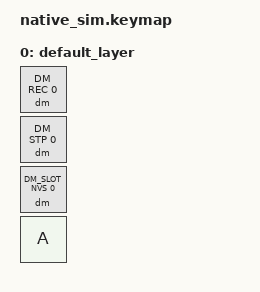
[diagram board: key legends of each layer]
/*
 * Copyright (c) 2026 The ZMK Contributors
 * SPDX-License-Identifier: MIT
 *
 * Test: Record more events than MAX_EVENTS allows.
 *
 * Sequence:
 * 1. Start recording
 * 2. Press many keys (exceeds MAX_EVENTS)
 * 3. Verify overflow feedback/truncation
 *
 * Expected: Recording stops or truncates at MAX_EVENTS, error feedback
 *
 * Note: Default MAX_EVENTS=64, so 32 key taps = 64 events (press+release)
 */

#include <behaviors.dtsi>
#include <dt-bindings/zmk/keys.h>
#include <dt-bindings/zmk/kscan_mock.h>
#include <dt-bindings/zmk/dynamic_macros.h>
#include "../behavior_keymap.dtsi"

/ {
    keymap {
        compatible = "zmk,keymap";
        default_layer {
            bindings = <
                &dm DM_REC 0
                &dm DM_STP 0
                &dm DM_SLOT_NVS 0
                &kp A
            >;
        };
    };
};

&kscan {
    events = <
        /* Start recording */
        ZMK_MOCK_PRESS(0,0,10)
        ZMK_MOCK_RELEASE(0,0,20)

        /* Press A 35 times (70 events > 64 MAX_EVENTS default) */
        ZMK_MOCK_PRESS(0,3,100)   ZMK_MOCK_RELEASE(0,3,110)
        ZMK_MOCK_PRESS(0,3,120)   ZMK_MOCK_RELEASE(0,3,130)
        ZMK_MOCK_PRESS(0,3,140)   ZMK_MOCK_RELEASE(0,3,150)
        ZMK_MOCK_PRESS(0,3,160)   ZMK_MOCK_RELEASE(0,3,170)
        ZMK_MOCK_PRESS(0,3,180)   ZMK_MOCK_RELEASE(0,3,190)
        ZMK_MOCK_PRESS(0,3,200)   ZMK_MOCK_RELEASE(0,3,210)
        ZMK_MOCK_PRESS(0,3,220)   ZMK_MOCK_RELEASE(0,3,230)
        ZMK_MOCK_PRESS(0,3,240)   ZMK_MOCK_RELEASE(0,3,250)
        ZMK_MOCK_PRESS(0,3,260)   ZMK_MOCK_RELEASE(0,3,270)
        ZMK_MOCK_PRESS(0,3,280)   ZMK_MOCK_RELEASE(0,3,290)
        ZMK_MOCK_PRESS(0,3,300)   ZMK_MOCK_RELEASE(0,3,310)
        ZMK_MOCK_PRESS(0,3,320)   ZMK_MOCK_RELEASE(0,3,330)
        ZMK_MOCK_PRESS(0,3,340)   ZMK_MOCK_RELEASE(0,3,350)
        ZMK_MOCK_PRESS(0,3,360)   ZMK_MOCK_RELEASE(0,3,370)
        ZMK_MOCK_PRESS(0,3,380)   ZMK_MOCK_RELEASE(0,3,390)
        ZMK_MOCK_PRESS(0,3,400)   ZMK_MOCK_RELEASE(0,3,410)
        ZMK_MOCK_PRESS(0,3,420)   ZMK_MOCK_RELEASE(0,3,430)
        ZMK_MOCK_PRESS(0,3,440)   ZMK_MOCK_RELEASE(0,3,450)
        ZMK_MOCK_PRESS(0,3,460)   ZMK_MOCK_RELEASE(0,3,470)
        ZMK_MOCK_PRESS(0,3,480)   ZMK_MOCK_RELEASE(0,3,490)
        ZMK_MOCK_PRESS(0,3,500)   ZMK_MOCK_RELEASE(0,3,510)
        ZMK_MOCK_PRESS(0,3,520)   ZMK_MOCK_RELEASE(0,3,530)
        ZMK_MOCK_PRESS(0,3,540)   ZMK_MOCK_RELEASE(0,3,550)
        ZMK_MOCK_PRESS(0,3,560)   ZMK_MOCK_RELEASE(0,3,570)
        ZMK_MOCK_PRESS(0,3,580)   ZMK_MOCK_RELEASE(0,3,590)
        ZMK_MOCK_PRESS(0,3,600)   ZMK_MOCK_RELEASE(0,3,610)
        ZMK_MOCK_PRESS(0,3,620)   ZMK_MOCK_RELEASE(0,3,630)
        ZMK_MOCK_PRESS(0,3,640)   ZMK_MOCK_RELEASE(0,3,650)
        ZMK_MOCK_PRESS(0,3,660)   ZMK_MOCK_RELEASE(0,3,670)
        ZMK_MOCK_PRESS(0,3,680)   ZMK_MOCK_RELEASE(0,3,690)
        ZMK_MOCK_PRESS(0,3,700)   ZMK_MOCK_RELEASE(0,3,710)
        ZMK_MOCK_PRESS(0,3,720)   ZMK_MOCK_RELEASE(0,3,730)
        ZMK_MOCK_PRESS(0,3,740)   ZMK_MOCK_RELEASE(0,3,750)
        ZMK_MOCK_PRESS(0,3,760)   ZMK_MOCK_RELEASE(0,3,770)
        ZMK_MOCK_PRESS(0,3,780)   ZMK_MOCK_RELEASE(0,3,790)

        /* Stop recording */
        ZMK_MOCK_PRESS(0,1,1000)
        ZMK_MOCK_RELEASE(0,1,1010)
    >;
};
